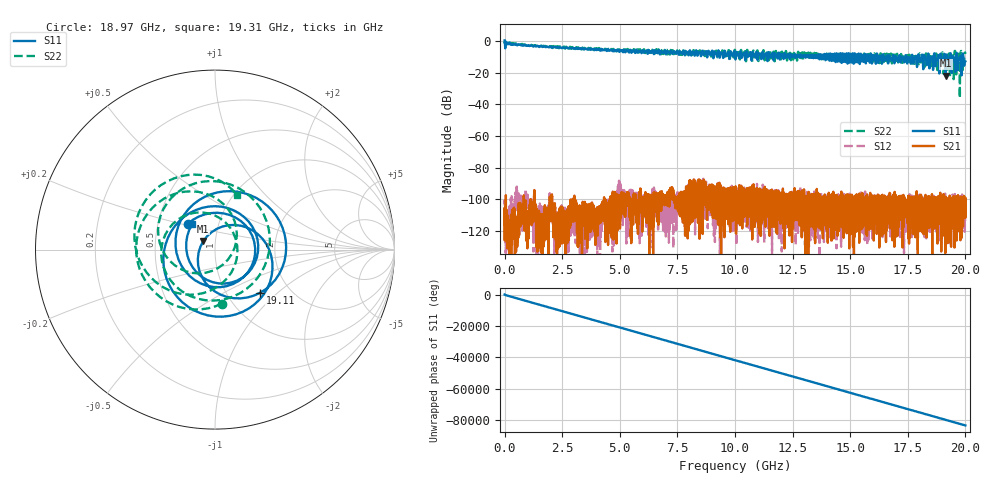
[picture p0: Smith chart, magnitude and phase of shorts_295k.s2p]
! MS46122B
! 2250307/22442219
! 8/5/2025 1:18:21 PM
! C:\USERS\SPARKY\DOCUMENTS\VNA_DATA\AUGUST5_2025\295K\SHORTS_295K.S2P
! CHANNEL.1
! TR.MEASUREMENT
! RAW.DATA
# GHZ S RI R 50.0
! FREQ.GHZ  S11RE  S11IM  S21RE  S21IM  S12RE  S12IM  S22RE  S22IM
!; PortSelection: Port_12
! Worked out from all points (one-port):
!   10001 points, 1 MHz to 20 GHz, reference 50 ohm
!   lowest |S11| = -21.9 dB at 19.14 GHz (marker M1), VSWR 1.18, Z = 43.7 + j4.18 ohm
!   |S11| at or under -10 dB: 17.44 GHz to 17.66 GHz (225.2 MHz wide, 1.28 % of centre); 18.41 GHz to 18.55 GHz (134.2 MHz wide, 0.726 % of centre); 19.46 GHz to 19.59 GHz (128.8 MHz wide, 0.66 % of centre) (the widest 3 of 93)
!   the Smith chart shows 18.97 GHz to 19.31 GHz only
!   S11 on the Smith chart (normalised r, x): 18.97 GHz: 0.71, +0.21; 19.11 GHz: 1.42, -0.78; 19.31 GHz: 0.75, +0.22
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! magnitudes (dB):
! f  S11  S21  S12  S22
! 1 MHz  0.4  -108.7  -111.9  -0.1
! 3.335 GHz  -4.5  -111.1  -107.1  -5.3
! 6.669 GHz  -6.6  -111.7  -106.4  -5.6
! 10 GHz  -8.7  -109.5  -98.9  -5.6
! 13.33 GHz  -10.0  -111.4  -104.7  -9.5
! 16.67 GHz  -11.3  -102.9  -97.3  -8.5
! 18.87 GHz  -20.2  -115.7  -100.0  -9.9
! 18.93 GHz  -8.1  -101.5  -103.9  -12.3
! 18.97 GHz  -13.6  -103.7  -104.7  -10.4
! 19.11 GHz  -9.2  -114.7  -98.8  -8.3
! 19.14 GHz  -21.9  -106.3  -108.5  -10.4
! 19.2 GHz  -8.7  -110.8  -106.2  -11.8
! 19.31 GHz  -14.4  -103.6  -109.8  -9.7
! 19.36 GHz  -7.7  -103.8  -100.5  -10.0
! 19.41 GHz  -19.6  -105.1  -107.8  -11.0
! 19.46 GHz  -10.0  -108.1  -102.7  -10.4
! 19.57 GHz  -18.4  -109.0  -103.9  -8.2
! 19.62 GHz  -7.5  -107.8  -117.1  -11.5
! 19.68 GHz  -18.0  -105.0  -102.1  -11.1
! 19.75 GHz  -11.6  -104.2  -99.9  -14.3
! 19.84 GHz  -16.5  -106.4  -112.6  -9.4
! 20 GHz  -12.9  -110.6  -105.0  -8.1
